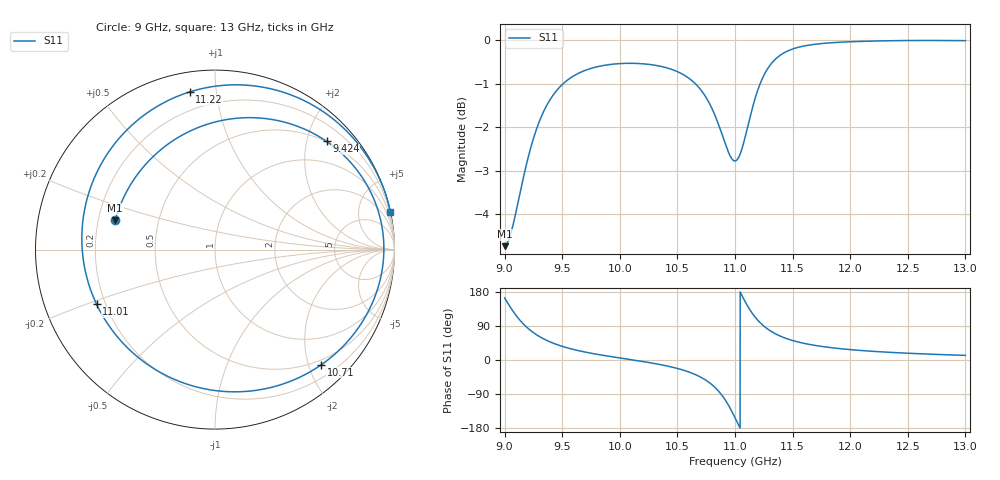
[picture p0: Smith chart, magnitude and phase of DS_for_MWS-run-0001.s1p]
! TOUCHSTONE file generated by CST DESIGN STUDIO
! Date and time: Tue Feb  4 13:35:23 2025
! Project name: C:\Work\MatlabApps\UnitCellOptimizationMatlab\CST\unitcell.cst
! Tree item: Tasks\Sweep1\SPara1\S-Parameters
! Header version: 2024
! Port assignment regex: !\s*Touchstone port\s*([0-9]+)\s*=\s*(CST MWS port|CST DES external port|CST DES block port)\s*(.+)\s* \(\"(.*)\"\)(\s*mode\s*([0-9]+))?.*
! Touchstone port assignment:
! Touchstone port 1 = CST DES external port 1 ("")
# GHz S MA R 50
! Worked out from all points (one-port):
!   4001 points, 9 GHz to 13 GHz, reference 50 ohm
!   lowest |S11| = -4.7 dB at 9 GHz (marker M1), VSWR 3.76, Z = 13.6 + j6.62 ohm
!   |S11| at or under -10 dB: nowhere
!   S11 on the Smith chart (normalised r, x): 9 GHz: 0.27, +0.13; 9.424 GHz: 0.49, +2.38; 10.71 GHz: 0.41, -2.22; 11.01 GHz: 0.17, -0.21; 11.22 GHz: 0.10, +0.85; 13 GHz: 0.04, +9.35
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9  0.5796 163.8
9.097  0.6329 118.6
9.178  0.7092 90.5
9.299  0.805 62.5
9.424  0.866 44.1
9.5  0.8894 36.1
9.71  0.9247 20.3
10  0.9403 5.3
10.285  0.9371 -8.4
10.5  0.9204 -22.3
10.619  0.9004 -33.9
10.714  0.8733 -47.2
10.804  0.8326 -66.2
10.888  0.779 -93.6
10.945  0.7424 -120.2
11  0.7264 -152.1
11.005  0.7267 -155.2
11.046  0.7407 179.0
11.088  0.7738 154.0
11.15  0.8349 123.2
11.216  0.8899 99.1
11.272  0.9224 84.2
11.345  0.9497 70.1
11.5  0.9773 51.4
11.703  0.99 38.1
12  0.9963 27.4
12.5  0.9995 17.8
13  0.9992 12.2
